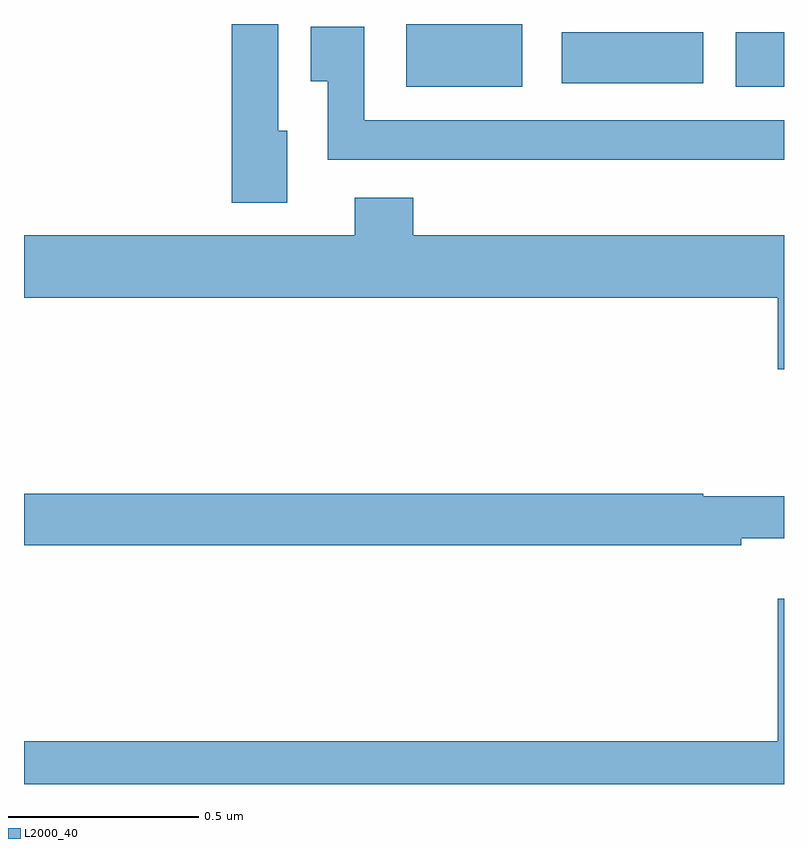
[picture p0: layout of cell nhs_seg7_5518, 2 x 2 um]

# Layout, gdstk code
import gdstk
lib = gdstk.Library(unit=1e-6, precision=1e-09)
def R(c, l, rs):  # rectangles x0, y0, x1, y1
    for r in rs: c.add(gdstk.rectangle(r[:2], r[2:], *l))
def P(c, l, *ps):  # polygons
    for p in ps: c.add(gdstk.Polygon(p, *l))
L2000_40 = (2000, 40)

nhs_seg7_5518 = lib.new_cell('nhs_seg7_5518')
R(nhs_seg7_5518, L2000_40, [(188.006,1003.835,188.311,1004), (188.873,1003.835,189,1003.978), (188.415,1003.844,188.788,1003.978)])
P(nhs_seg7_5518, L2000_40, [(187.693,1003.719),(187.669,1003.719),(187.669,1004),(187.547,1004),(187.547,1003.529),(187.693,1003.529)],
  [(189,1003.747),(187.896,1003.747),(187.896,1003.993),(187.754,1003.993),(187.754,1003.849),(187.799,1003.849),(187.799,1003.643),(189,1003.643)],
  [(189,1003.444),(188.024,1003.444),(188.024,1003.543),(187.871,1003.543),(187.871,1003.444),(187,1003.444),(187,1003.28),(188.984,1003.28),(188.984,1003.092),(189,1003.092)],
  [(188.888,1002.647),(189,1002.647),(189,1002.757),(188.788,1002.757),(188.788,1002.764),(187,1002.764),(187,1002.628),(188.888,1002.628)],
  [(189,1002.487),(188.984,1002.487),(188.984,1002.112),(187,1002.112),(187,1002),(189,1002)])

lib.write_gds('nhs_seg7_5518.gds')
